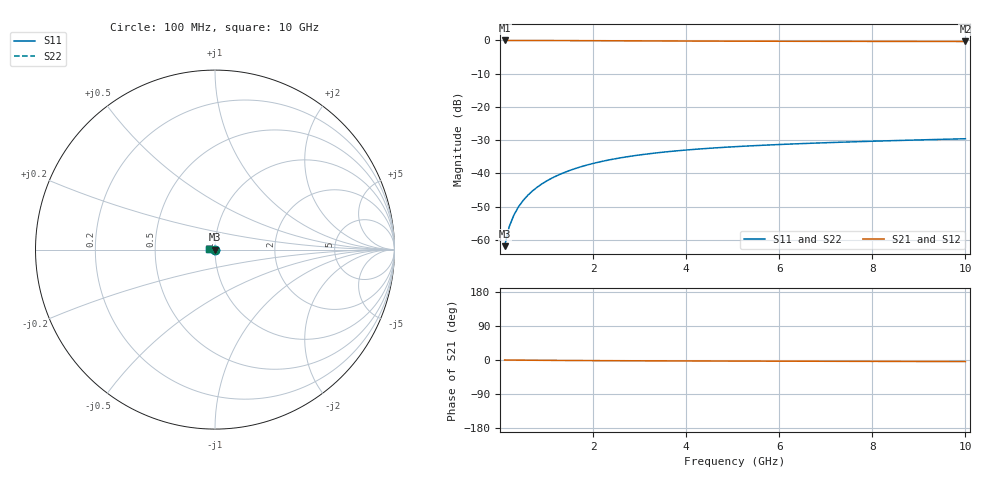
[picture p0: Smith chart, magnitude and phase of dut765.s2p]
! Touchstone file exported from HFSS 2024.1.0
!  File:  C:/UserFiles/LocalFiles/RDL_TSV_Batchsim/temp_TSV1_765_1779873006.aedt
!  Generated:  05:15:17 PM May 27, 2026
!  Design:  TSV1
!  Project:  temp_TSV1_765_1779873006
!  Setup:  Setup1
!  Solution:  Sweep
! Variables:
!  dtsv = 8.03um
!  hbump = 3um
!  htsv = 62.93um
!  lrdl = 252.1521522um
!  p = 40
!  p1 = 45.93um
!  t = 500um
!  trdl = 3um
!  wrdl = 24.89489489um
# GHz S MA R 50.000000
! Terminal data exported
! Port[1] = TSV22_T1
! Port[2] = TSV22_T2
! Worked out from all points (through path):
!   100 points, 100 MHz to 10 GHz, reference 50 ohm
!   highest |S21| = 0.00 dB at 100 MHz (marker M1); lowest = -0.3 dB at 10 GHz (marker M2)
!   lowest |S11| = -61.9 dB at 100 MHz (marker M3), VSWR 1.00, Z = 50 - j0.0786 ohm
!   |S11| at or under -10 dB: start of sweep to end of sweep
!   |S22| runs from -61.9 to -29.6 dB; largest |S21 - S12| = 8e-15
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0.1  0.0008037 -77.7  0.9998 -0.1  0.9998 -0.1  0.0008037 -77.7
! Gamma 0 0 0 0
! Port Impedance 50 0 50 0
0.2  0.001586 -86.4  0.9997 -0.2  0.9997 -0.2  0.001586 -86.4
0.3  0.002371 -90.6  0.9995 -0.3  0.9995 -0.3  0.002371 -90.6
0.4  0.003152 -93.7  0.9994 -0.4  0.9994 -0.4  0.003152 -93.7
0.5  0.003927 -96.2  0.9991 -0.5  0.9991 -0.5  0.003927 -96.2
0.6  0.004694 -98.5  0.9989 -0.5  0.9989 -0.5  0.004694 -98.5
0.7  0.005454 -100.6  0.9985 -0.6  0.9985 -0.6  0.005454 -100.6
0.8  0.006203 -102.7  0.9982 -0.7  0.9982 -0.7  0.006203 -102.7
0.9  0.00694 -104.6  0.9978 -0.8  0.9978 -0.8  0.00694 -104.6
1.1  0.008378 -108.4  0.9969 -1.0  0.9969 -1.0  0.008378 -108.4
1.4  0.01043 -113.7  0.9953 -1.2  0.9953 -1.2  0.01043 -113.7
1.6  0.01172 -117.1  0.9941 -1.3  0.9941 -1.3  0.01172 -117.1
1.8  0.01294 -120.4  0.9929 -1.5  0.9929 -1.5  0.01294 -120.4
2.1  0.01465 -125.0  0.991 -1.6  0.991 -1.6  0.01465 -125.0
2.5  0.01671 -130.8  0.9885 -1.9  0.9885 -1.9  0.01671 -130.8
2.9  0.01852 -136.1  0.986 -2.1  0.986 -2.1  0.01852 -136.1
3.4  0.02048 -142.2  0.9831 -2.3  0.9831 -2.3  0.02048 -142.2
4.2  0.02305 -150.8  0.979 -2.6  0.979 -2.6  0.02305 -150.8
5.1  0.02533 -159.1  0.9753 -2.8  0.9753 -2.8  0.02533 -159.1
6.7  0.02843 -171.3  0.9706 -3.3  0.9706 -3.3  0.02843 -171.3
8.4  0.03104 178.4  0.9672 -3.7  0.9672 -3.7  0.03104 178.4
10  0.03321 170.2  0.965 -4.2  0.965 -4.2  0.03321 170.2
